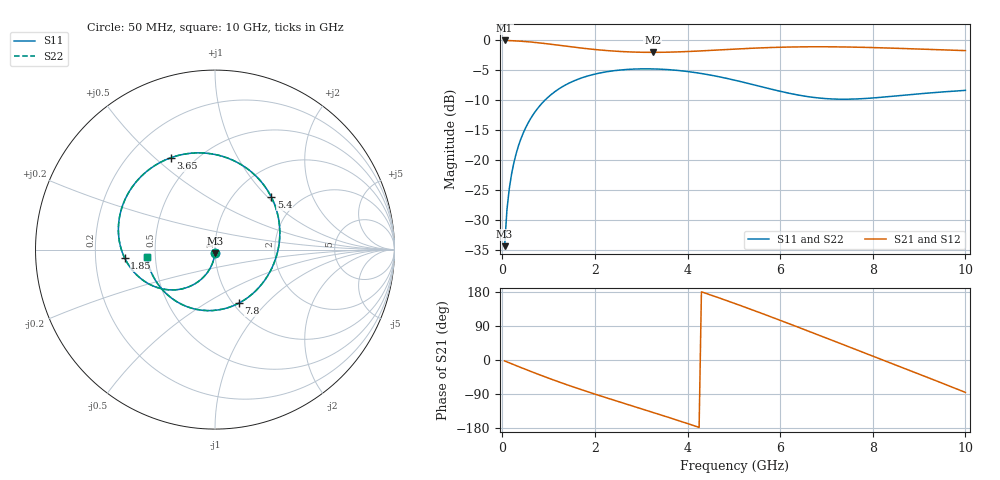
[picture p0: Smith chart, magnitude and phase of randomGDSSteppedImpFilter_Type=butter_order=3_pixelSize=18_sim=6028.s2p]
! freq	dB(S11)	phase(S11)	dB(S12)	phase(S12)
!  dB(S21)	phase(S21)	dB(S22)	phase(S22)
!S-par simulation data
#  GHz  S  DB  R 50
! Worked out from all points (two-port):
!   200 points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, 50 MHz to 10 GHz, reference 50 ohm
!   highest |S21| = 0.00 dB at 50 MHz (marker M1); lowest = -2.0 dB at 3.25 GHz (marker M2)
!   |S21| within 3 dB of the highest: start of sweep to end of sweep
!   lowest |S11| = -34.4 dB at 50 MHz (marker M3), VSWR 1.04, Z = 49.9 - j1.91 ohm
!   |S11| at or under -10 dB: start of sweep to 918.6 MHz
!   |S22| runs from -34.3 to -4.7 dB; largest |S21 - S12| = 0
!   S11 on the Smith chart (normalised r, x): 50 MHz: 1.00, -0.04; 1.85 GHz: 0.33, -0.04; 3.65 GHz: 0.37, +0.56; 5.4 GHz: 1.47, +1.05; 7.8 GHz: 1.06, -0.71; 10 GHz: 0.45, -0.04
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0.05  -34.36 -92.9  -0.00 -2.5  -0.00 -2.5  -34.33 -92.6
0.1  -28.32 -95.4  -0.01 -5.0  -0.01 -5.0  -28.31 -95.3
0.2  -22.33 -100.4  -0.04 -10.0  -0.04 -10.0  -22.34 -100.5
0.5  -14.65 -115.3  -0.19 -24.6  -0.19 -24.6  -14.67 -115.3
1.1  -8.76 -143.0  -0.68 -52.4  -0.68 -52.4  -8.76 -143.0
1.75  -6.16 -170.7  -1.31 -80.0  -1.31 -80.0  -6.16 -170.7
1.85  -5.92 -174.7  -1.40 -84.1  -1.40 -84.1  -5.92 -174.7
2.5  -4.98 159.9  -1.82 -109.5  -1.82 -109.5  -4.98 159.9
3.25  -4.76 131.2  -1.99 -138.2  -1.99 -138.2  -4.76 131.3
3.4  -4.79 125.5  -1.98 -144.0  -1.98 -144.0  -4.79 125.5
3.65  -4.91 115.7  -1.95 -153.8  -1.95 -153.8  -4.91 115.8
4.4  -5.65 85.6  -1.71 175.8  -1.71 175.8  -5.65 85.6
5.05  -6.69 58.1  -1.43 147.8  -1.43 147.8  -6.69 58.2
5.4  -7.35 42.9  -1.30 132.2  -1.30 132.2  -7.35 42.9
6.1  -8.67 11.7  -1.12 100.1  -1.12 100.1  -8.67 11.8
6.7  -9.49 -15.5  -1.06 72.0  -1.06 72.0  -9.49 -15.4
7.2  -9.80 -38.4  -1.07 48.3  -1.07 48.3  -9.80 -38.3
7.8  -9.72 -66.2  -1.15 19.8  -1.15 19.8  -9.72 -66.2
8.35  -9.38 -92.2  -1.27 -6.4  -1.27 -6.4  -9.38 -92.2
8.8  -9.06 -113.8  -1.39 -27.8  -1.39 -27.8  -9.06 -113.8
9.25  -8.76 -135.7  -1.51 -49.2  -1.51 -49.2  -8.76 -135.7
10  -8.34 -173.7  -1.70 -85.5  -1.70 -85.5  -8.34 -173.7
